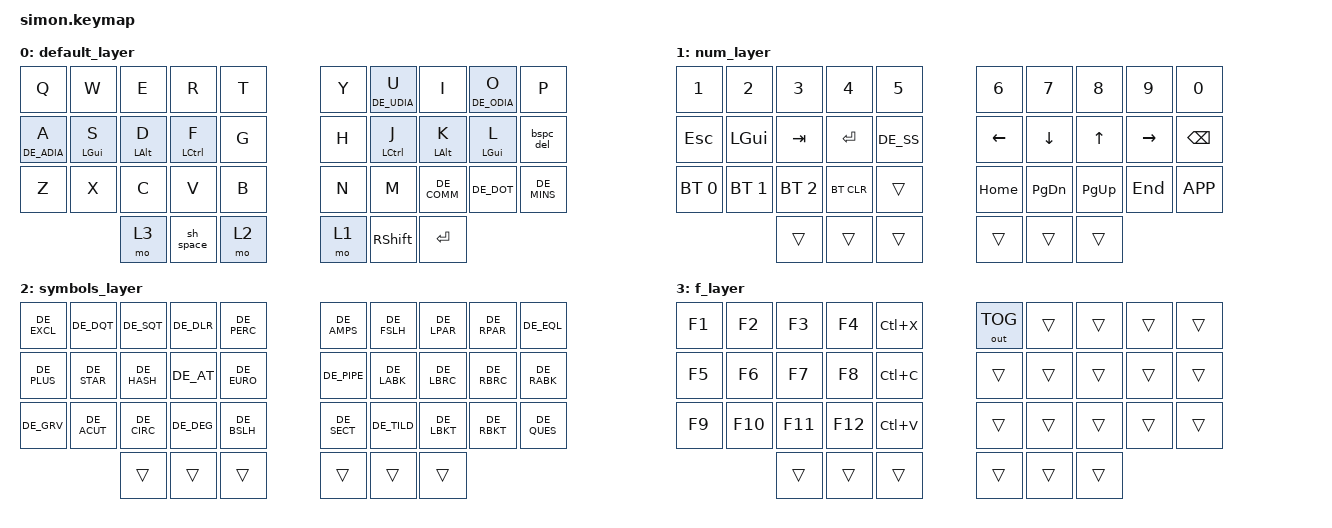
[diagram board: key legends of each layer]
#include "keymap_german.h"

/ {
   behaviors {
        hm: homerow_mods {
            compatible = "zmk,behavior-hold-tap";
            label = "HOMEROW_MODS";
            #binding-cells = <2>;
            tapping-term-ms = <250>;
            quick-tap-ms = <0>;
            flavor = "tap-preferred";
            bindings = <&kp>, <&kp>;
        };

        odht: od_hold_tap {
            compatible = "zmk,behavior-hold-tap";
            label = "OD_HOLD_TAP";
            #binding-cells = <2>;
            tapping-term-ms = <250>;
            quick-tap-ms = <0>;
            flavor = "balanced";
            bindings = <&kp>, <&kp>;
        };

        sh_space: shift_space {
            compatible = "zmk,behavior-mod-morph";
            label = "SHIFT_SPACE";
            #binding-cells = <0>;
            bindings = <&kp SPACE>, <&kp DE_UNDS>;
            mods = <(MOD_LSFT|MOD_RSFT)>;
        };

        bspc_del: backspace_delete {
            compatible = "zmk,behavior-mod-morph";
            label = "BACKSPACE_DELETE";
            #binding-cells = <0>;
            bindings = <&kp BACKSPACE>, <&kp DELETE>;
            mods = <(MOD_LSFT|MOD_RSFT)>;
        };
    };

    keymap {
        compatible = "zmk,keymap";

        default_layer {
            bindings = <
            &kp Q               &kp W         &kp E         &kp R         &kp T                      &kp Y         &odht DE_UDIA U     &kp I         &odht DE_ODIA O     &kp P
            &odht DE_ADIA A     &hm LGUI S    &hm LALT D    &hm LCTRL F   &kp G                      &kp H         &hm LCTRL J         &hm LALT K    &hm LGUI L          &bspc_del
            &kp Z               &kp X         &kp C         &kp V         &kp B                      &kp N         &kp M               &kp DE_COMM   &kp DE_DOT          &kp DE_MINS
                                              &mo 3         &sh_space     &mo 2                      &mo 1         &kp RSHFT           &kp ENTER
            >;
        };

        num_layer {
            bindings = <
            &kp N1        &kp N2        &kp N3        &kp N4        &kp N5                      &kp N6        &kp N7        &kp N8        &kp N9        &kp N0
            &kp ESC       &kp LGUI      &kp TAB       &kp ENTER     &kp DE_SS                   &kp LEFT      &kp DOWN      &kp UP        &kp RIGHT     &kp BKSP
            &bt BT_SEL 0  &bt BT_SEL 1  &bt BT_SEL 2  &bt BT_CLR    &trans                      &kp HOME      &kp PG_DN     &kp PG_UP     &kp END       &kp K_APP
                                        &trans        &trans        &trans                      &trans        &trans        &trans
            >;
        };

        symbols_layer {
            bindings = <
            &kp DE_EXCL   &kp DE_DQT    &kp DE_SQT    &kp DE_DLR    &kp DE_PERC                 &kp DE_AMPS   &kp DE_FSLH   &kp DE_LPAR   &kp DE_RPAR   &kp DE_EQL
            &kp DE_PLUS   &kp DE_STAR   &kp DE_HASH   &kp DE_AT     &kp DE_EURO                 &kp DE_PIPE   &kp DE_LABK   &kp DE_LBRC   &kp DE_RBRC   &kp DE_RABK
            &kp DE_GRV    &kp DE_ACUT   &kp DE_CIRC   &kp DE_DEG    &kp DE_BSLH                 &kp DE_SECT   &kp DE_TILD   &kp DE_LBKT   &kp DE_RBKT   &kp DE_QUES
                                        &trans        &trans        &trans                      &trans        &trans        &trans
            >;
        };

        f_layer {
            bindings = <
            &kp F1        &kp F2        &kp F3        &kp F4        &kp LC(X)                  &out OUT_TOG    &trans    &trans    &trans    &trans
            &kp F5        &kp F6        &kp F7        &kp F8        &kp LC(C)                  &trans    &trans    &trans    &trans    &trans
            &kp F9        &kp F10       &kp F11       &kp F12       &kp LC(V)                  &trans    &trans    &trans    &trans    &trans
                                        &trans        &trans        &trans                     &trans    &trans    &trans
            >;
        };
    };
};
